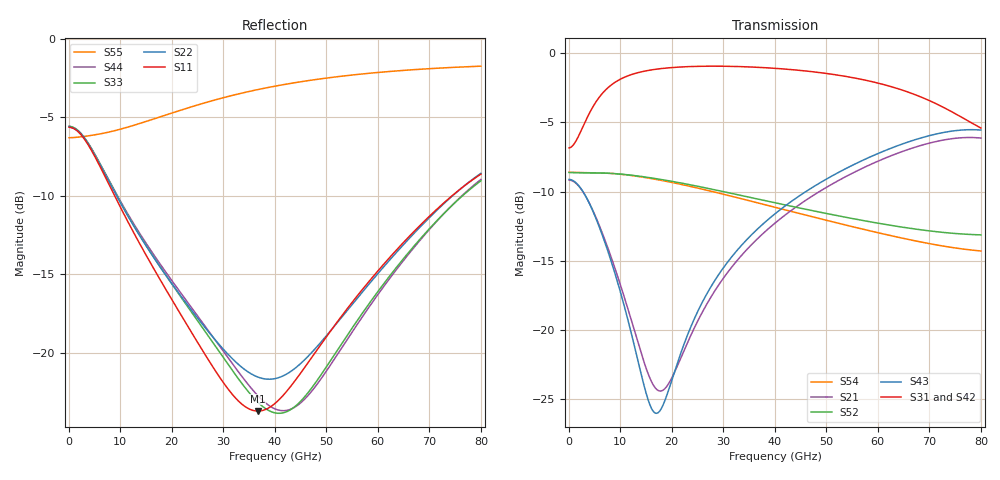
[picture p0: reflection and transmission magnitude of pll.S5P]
#  Hz  S  RI  R  50
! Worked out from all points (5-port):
!   800 points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, 100 MHz to 80 GHz, reference 50 ohm
!   strongest paths, dB at 100 MHz, 20.1 GHz, 40.1 GHz, 60.1 GHz, 80 GHz:
!     S31: -6.8, -1.0, -1.1, -2.2, -5.4
!     S42: -6.8, -1.1, -1.1, -2.1, -5.3
!     S43: -9.1, -23.6, -11.6, -7.2, -5.5
!     S52: -8.6, -9.3, -10.8, -12.3, -13.1
!     S21: -9.2, -23.4, -12.3, -7.8, -6.1
!     S54: -8.6, -9.3, -11.1, -13.0, -14.3
!   lowest |S11| = -23.7 dB at 36.7 GHz (marker M1), VSWR 1.14, Z = 44.5 + j2.72 ohm
!   |S11| at or under -10 dB: 8.917 GHz to 74.44 GHz (65.52 GHz wide, 157 % of centre)
